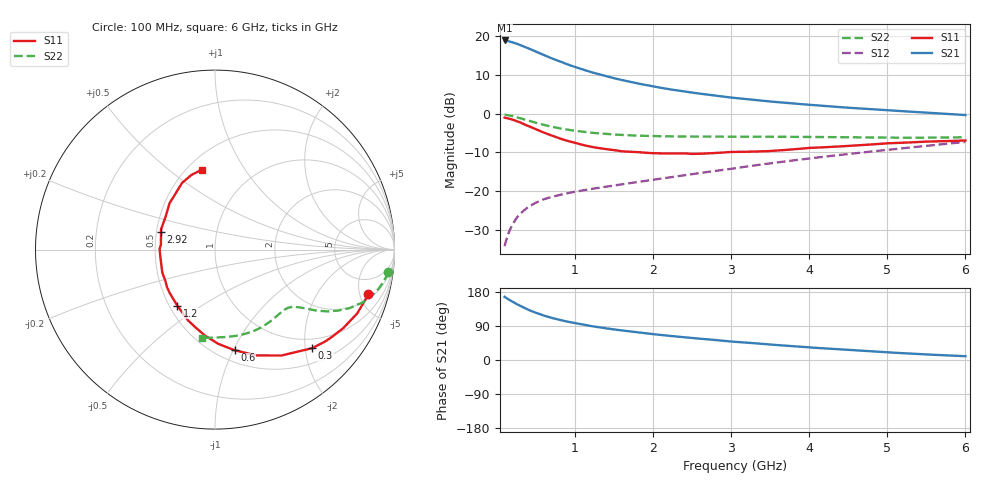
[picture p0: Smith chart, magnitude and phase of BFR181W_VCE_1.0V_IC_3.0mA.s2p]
! Infineon Technologies  Discrete & RF Semiconductors
! BFR181W
! VCE =  1.0 V,  IC =  3.0 mA
! Common Emitter S-Parameters:  Nov 2015
# GHz  S  MA  R  50
!  f  S11  S21  S12  S22
! GHz  MAG  ANG  MAG  ANG  MAG  ANG  MAG  ANG
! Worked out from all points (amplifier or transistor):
!   192 points, 100 MHz to 6 GHz, reference 50 ohm
!   highest |S21| = 18.9 dB at 100 MHz (marker M1)
!   |S21| within 3 dB of that: start of sweep to 515.5 MHz
!   unconditionally stable (mu >= 1): 1.589 GHz to 3.6 GHz
!   at 440 MHz: K = 0.40, MSG = 20.1 dB, |S12| = -23.6 dB
!   at 1.7 GHz: K = 1.02, MAG = 12.1 dB, |S12| = -17.9 dB
!   at 6 GHz: K = 0.81, MSG = 3.5 dB, |S12| = -7.3 dB
!   S11 on the Smith chart (normalised r, x): 100 MHz: 2.47, -5.98; 300 MHz: 0.79, -2.15; 600 MHz: 0.61, -1.01; 1.2 GHz: 0.55, -0.40; 2.92 GHz: 0.53, +0.12; 6 GHz: 0.59, +0.66
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0.1  0.8907 -16.3  8.778 166.6  0.0196 80.5  0.9743 -7.5
0.15  0.8683 -24.2  8.585 159.9  0.0289 76.6  0.955 -11.0
0.2  0.8377 -31.5  8.32 153.8  0.0369 73.0  0.9312 -14.3
0.24  0.8108 -37.3  8.068 149.2  0.0432 69.8  0.9084 -16.5
0.3  0.7713 -45.4  7.662 142.7  0.0513 66.1  0.8747 -19.6
0.4  0.6967 -57.9  6.984 132.6  0.0625 61.1  0.816 -23.6
0.5  0.6327 -68.7  6.312 124.5  0.0712 57.4  0.7626 -26.5
0.6  0.5717 -78.9  5.718 117.4  0.0788 54.9  0.7171 -28.7
0.7  0.5254 -88.0  5.18 111.2  0.0844 53.1  0.6795 -30.2
0.8  0.4823 -96.6  4.735 105.9  0.0894 52.1  0.6483 -31.4
1  0.4214 -111.1  4 97.2  0.0985 51.3  0.602 -33.0
1.1  0.3961 -117.2  3.714 93.8  0.1026 51.4  0.5855 -33.7
1.2  0.3758 -124.0  3.444 89.8  0.1067 51.4  0.569 -34.4
1.4  0.3496 -136.2  3.034 83.5  0.1145 52.2  0.5473 -35.7
1.6  0.3277 -147.3  2.712 77.9  0.1229 53.2  0.5317 -37.0
2.08  0.3079 -169.2  2.174 66.6  0.1444 56.1  0.5122 -41.0
2.5  0.3025 175.0  1.866 57.8  0.1659 58.1  0.5065 -45.0
2.92  0.3166 161.8  1.65 50.4  0.19 59.3  0.5053 -50.0
3.1  0.3216 156.9  1.574 47.3  0.2015 59.6  0.5048 -52.4
4.1  0.3651 132.3  1.278 31.9  0.2718 58.6  0.5006 -67.1
5.1  0.418 114.4  1.091 19.1  0.35 55.0  0.4905 -83.4
6  0.4508 99.6  0.96 10.0  0.4319 50.0  0.4967 -98.1
